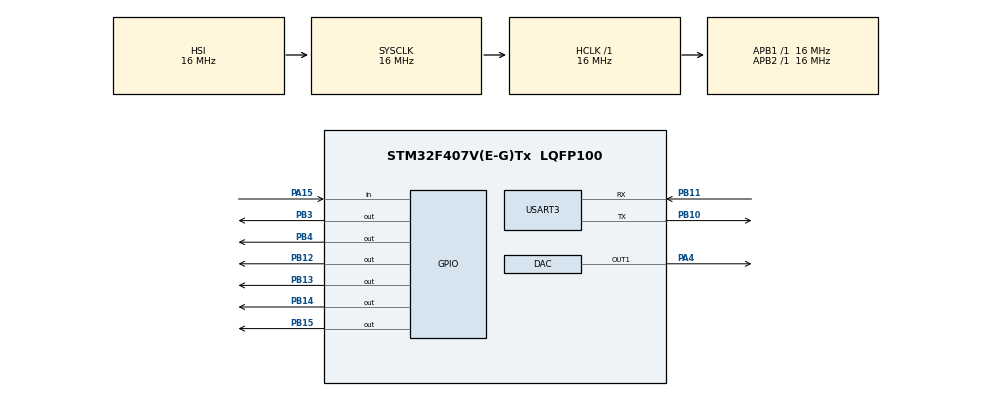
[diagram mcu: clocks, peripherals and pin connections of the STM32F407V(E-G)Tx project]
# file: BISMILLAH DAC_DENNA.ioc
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Mcu.Family=STM32F4
Mcu.Name=STM32F407V(E-G)Tx
Mcu.Package=LQFP100
NVIC.PriorityGroup=NVIC_PRIORITYGROUP_4
PA13.Mode=Serial_Wire
PA13.Signal=SYS_JTMS-SWDIO
PA14.Mode=Serial_Wire
PA14.Signal=SYS_JTCK-SWCLK
PA15.Signal=GPIO_Input
PA4.Signal=COMP_DAC1_group
PB10.Mode=Asynchronous
PB10.Signal=USART3_TX
PB11.Mode=Asynchronous
PB11.Signal=USART3_RX
PB12.Signal=GPIO_Output
PB13.Signal=GPIO_Output
PB14.Signal=GPIO_Output
PB15.Signal=GPIO_Output
PB3.Signal=GPIO_Output
PB4.Signal=GPIO_Output
PH0-OSC_IN.Mode=HSE-External-Oscillator
PH0-OSC_IN.Signal=RCC_OSC_IN
PH1-OSC_OUT.Mode=HSE-External-Oscillator
PH1-OSC_OUT.Signal=RCC_OSC_OUT
ProjectManager.HeapSize=0x200
ProjectManager.StackSize=0x400
ProjectManager.TargetToolchain=MDK-ARM V5.32
RCC.AHBFreq_Value=16000000
RCC.APB1Freq_Value=16000000
RCC.APB2Freq_Value=16000000
RCC.CortexFreq_Value=16000000
RCC.HSE_VALUE=25000000
RCC.HSI_VALUE=16000000
RCC.LSE_VALUE=32768
RCC.SYSCLKFreq_VALUE=16000000
RCC.VCOOutputFreq_Value=192000000
SH.COMP_DAC1_group.0=DAC_OUT1,DAC_OUT1
USART3.VirtualMode=VM_ASYNC
board=custom

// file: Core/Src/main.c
/* USER CODE BEGIN Header */
/**
  ******************************************************************************
  * @file           : main.c
  * @brief          : Main program body
  ******************************************************************************
  * @attention
  *
  * Copyright (c) 2022 STMicroelectronics.
  * All rights reserved.
  *
  * This software is licensed under terms that can be found in the LICENSE file
  * in the root directory of this software component.
  * If no LICENSE file comes with this software, it is provided AS-IS.
  *
  ******************************************************************************
  */
/* USER CODE END Header */
#include "main.h"

/* USER CODE BEGIN Includes */
#include "stdio.h"
#include "lcd_character.h"
#include "stdbool.h"
#include "math.h"
#include "string.h"
#include "MY_DHT22.h"

/* USER CODE END Includes */

 DAC_HandleTypeDef hdac;

UART_HandleTypeDef huart3;

/* USER CODE BEGIN PV */
char buffer[200];
float TempC, Humidity;
char uartData[50];
char statusBaju[50];
int status = 0;
/* USER CODE END PV */

void SystemClock_Config(void);
static void MX_GPIO_Init(void);
static void MX_DAC_Init(void);
static void MX_USART3_UART_Init(void);

int main(void)
{
  /* USER CODE BEGIN 1 */
	float valVolt = 3; //Range 0 - 3 volts
	uint8_t valByte;
  /* USER CODE END 1 */

  /* MCU Configuration--------------------------------------------------------*/

  /* Reset of all peripherals, Initializes the Flash interface and the Systick. */
  HAL_Init();

  /* Configure the system clock */
  SystemClock_Config();

  /* Initialize all configured peripherals */
  MX_GPIO_Init();
  MX_DAC_Init();
  MX_USART3_UART_Init();
  /* USER CODE BEGIN 2 */
	//--------------------------IDENTITAS-----------------------
	lcd_gotoxy(0,0);
	lcd_puts("PENGERING PAKAIAN");
	lcd_gotoxy(0,1);
	lcd_puts("DENNA YUNAN OKTARA");
	lcd_gotoxy(0,2);
	lcd_puts("3 D3 ELIN B");
	lcd_gotoxy(0,3);
	lcd_puts("1303191053");
	HAL_Delay(5000);
	lcd_clear();

	//-----------------------------DAC--------------------------
	valByte = (uint8_t)((valVolt/3.0)*255);

	HAL_DAC_Start(&hdac, DAC_CHANNEL_1);
	HAL_DAC_SetValue(&hdac, DAC_CHANNEL_1, DAC_ALIGN_8B_R, valByte);

	DHT22_Init(GPIOA, GPIO_PIN_15);
  /* USER CODE END 2 */

  /* Infinite loop */
  /* USER CODE BEGIN WHILE */
  while (1)
  {

	//---------------------------COBA RELAY------------------------------
//	HAL_GPIO_WritePin(GPIOB, GPIO_PIN_15,GPIO_PIN_SET);
//	lcd_gotoxy(0,0);
//	lcd_puts("Blower ON");
//	HAL_Delay(2000);
//	HAL_GPIO_WritePin(GPIOB, GPIO_PIN_15,GPIO_PIN_RESET);
//	lcd_gotoxy(0,1);
//	lcd_puts("Blower OFF");
//	HAL_Delay(2000);

    /* USER CODE END WHILE */

    /* USER CODE BEGIN 3 */
		int strSize = sprintf((char*)buffer, "mosok rakenek");
		HAL_UART_Transmit(&huart3, (uint8_t *)buffer, strSize, 100);

		// ====================== Jika DHT22 BISA DIAKSES ==================================
		if(DHT22_GetTemp_Humidity(&TempC, &Humidity) == 1)
		{

			// kondisi suhu dibawah 50
			if(TempC < 50.0 ){
				HAL_GPIO_WritePin(GPIOB, GPIO_PIN_3,GPIO_PIN_SET);
				//lcd_gotoxy(0,0);
				//lcd_puts("Blower ON");
				//HAL_Delay(2000);

				HAL_GPIO_WritePin(GPIOB, GPIO_PIN_4,GPIO_PIN_RESET);
				//lcd_gotoxy(0,0);
				//lcd_puts("Exhaust OFF");
				//HAL_Delay(2000);
				//int strSize = sprintf((char*)buffer, "dibawah 50");
				//HAL_UART_Transmit(&huart3, buffer, strSize, 100);
			}

			// kondisi suhu diatas 50
			else{
				HAL_GPIO_WritePin(GPIOB, GPIO_PIN_3,GPIO_PIN_RESET);
				//lcd_gotoxy(0,0);
				//lcd_puts("Blower OFF");
				//HAL_Delay(2000);

				HAL_GPIO_WritePin(GPIOB, GPIO_PIN_4,GPIO_PIN_SET);
				//lcd_gotoxy(0,0);
				//lcd_puts("Exhaust ON");
				//HAL_Delay(2000);
			}

			// kondisi kelembapan diatas 20
			if(Humidity > 20.0){
				//lcd_gotoxy(0,0);
				//lcd_puts("Belum Kering");
				//HAL_Delay(2000);
				sprintf(statusBaju, "Belum Kering");
				status = 0;
			}

			// kondisi kelembapan dibawah 20
			else{
				//lcd_gotoxy(0,0);
				//lcd_puts("Sudah Kering");
				//HAL_Delay(2000);
				sprintf(statusBaju, "Sudah Kering");
				status = 1;
			}

			int digitT = sprintf(buffer, "%0.2f", TempC);
			int digitH = sprintf(buffer, "%0.2f", Humidity);
			int digitD = sprintf(buffer, "%d", status);
			//sprintf(uartData, "%0.2f%0.2f%s", TempC, Humidity, statusBaju);
			sprintf(uartData, "AT%d%0.2fH%d%0.2fD%d%dB", digitT, TempC, digitH, Humidity, digitD, status);
			HAL_UART_Transmit(&huart3, (uint8_t *)uartData, strlen(uartData), 100);
		}

		// JIKA DHT22 TDK BISA DIAKSES
		else
		{
			sprintf(uartData, "AT%d%sH%d%sD%d%sB", strlen("null"), "null", strlen("null"), "null", strlen("null"), "null");
			HAL_UART_Transmit(&huart3, (uint8_t *)uartData, strlen(uartData), 100);
		}

		HAL_Delay(1000);
  }
  /* USER CODE END 3 */
}

void SystemClock_Config(void)
{
  RCC_OscInitTypeDef RCC_OscInitStruct = {0};
  RCC_ClkInitTypeDef RCC_ClkInitStruct = {0};

  /** Configure the main internal regulator output voltage
  */
  __HAL_RCC_PWR_CLK_ENABLE();
  __HAL_PWR_VOLTAGESCALING_CONFIG(PWR_REGULATOR_VOLTAGE_SCALE1);

  /** Initializes the RCC Oscillators according to the specified parameters
  * in the RCC_OscInitTypeDef structure.
  */
  RCC_OscInitStruct.OscillatorType = RCC_OSCILLATORTYPE_HSI;
  RCC_OscInitStruct.HSIState = RCC_HSI_ON;
  RCC_OscInitStruct.HSICalibrationValue = RCC_HSICALIBRATION_DEFAULT;
  RCC_OscInitStruct.PLL.PLLState = RCC_PLL_NONE;
  if (HAL_RCC_OscConfig(&RCC_OscInitStruct) != HAL_OK)
  {
    Error_Handler();
  }

  /** Initializes the CPU, AHB and APB buses clocks
  */
  RCC_ClkInitStruct.ClockType = RCC_CLOCKTYPE_HCLK|RCC_CLOCKTYPE_SYSCLK
                              |RCC_CLOCKTYPE_PCLK1|RCC_CLOCKTYPE_PCLK2;
  RCC_ClkInitStruct.SYSCLKSource = RCC_SYSCLKSOURCE_HSI;
  RCC_ClkInitStruct.AHBCLKDivider = RCC_SYSCLK_DIV1;
  RCC_ClkInitStruct.APB1CLKDivider = RCC_HCLK_DIV1;
  RCC_ClkInitStruct.APB2CLKDivider = RCC_HCLK_DIV1;

  if (HAL_RCC_ClockConfig(&RCC_ClkInitStruct, FLASH_LATENCY_0) != HAL_OK)
  {
    Error_Handler();
  }
}

static void MX_DAC_Init(void)
{

  DAC_ChannelConfTypeDef sConfig = {0};

  /** DAC Initialization
  */
  hdac.Instance = DAC;
  if (HAL_DAC_Init(&hdac) != HAL_OK)
  {
    Error_Handler();
  }

  /** DAC channel OUT1 config
  */
  sConfig.DAC_Trigger = DAC_TRIGGER_NONE;
  sConfig.DAC_OutputBuffer = DAC_OUTPUTBUFFER_ENABLE;
  if (HAL_DAC_ConfigChannel(&hdac, &sConfig, DAC_CHANNEL_1) != HAL_OK)
  {
    Error_Handler();
  }

}

static void MX_USART3_UART_Init(void)
{

  huart3.Instance = USART3;
  huart3.Init.BaudRate = 115200;
  huart3.Init.WordLength = UART_WORDLENGTH_8B;
  huart3.Init.StopBits = UART_STOPBITS_1;
  huart3.Init.Parity = UART_PARITY_NONE;
  huart3.Init.Mode = UART_MODE_TX_RX;
  huart3.Init.HwFlowCtl = UART_HWCONTROL_NONE;
  huart3.Init.OverSampling = UART_OVERSAMPLING_16;
  if (HAL_UART_Init(&huart3) != HAL_OK)
  {
    Error_Handler();
  }

}

static void MX_GPIO_Init(void)
{
  GPIO_InitTypeDef GPIO_InitStruct = {0};

  /* GPIO Ports Clock Enable */
  __HAL_RCC_GPIOH_CLK_ENABLE();
  __HAL_RCC_GPIOA_CLK_ENABLE();
  __HAL_RCC_GPIOB_CLK_ENABLE();

  /*Configure GPIO pin Output Level */
  HAL_GPIO_WritePin(GPIOB, GPIO_PIN_12|GPIO_PIN_13|GPIO_PIN_14|GPIO_PIN_15
                          |GPIO_PIN_3|GPIO_PIN_4, GPIO_PIN_RESET);

  /*Configure GPIO pins : PB12 PB13 PB14 PB15
                           PB3 PB4 */
  GPIO_InitStruct.Pin = GPIO_PIN_12|GPIO_PIN_13|GPIO_PIN_14|GPIO_PIN_15
                          |GPIO_PIN_3|GPIO_PIN_4;
  GPIO_InitStruct.Mode = GPIO_MODE_OUTPUT_PP;
  GPIO_InitStruct.Pull = GPIO_NOPULL;
  GPIO_InitStruct.Speed = GPIO_SPEED_FREQ_LOW;
  HAL_GPIO_Init(GPIOB, &GPIO_InitStruct);

  /*Configure GPIO pin : PA15 */
  GPIO_InitStruct.Pin = GPIO_PIN_15;
  GPIO_InitStruct.Mode = GPIO_MODE_INPUT;
  GPIO_InitStruct.Pull = GPIO_NOPULL;
  HAL_GPIO_Init(GPIOA, &GPIO_InitStruct);

}

void Error_Handler(void)
{
  __disable_irq();
  while (1)
  {
  }
}
